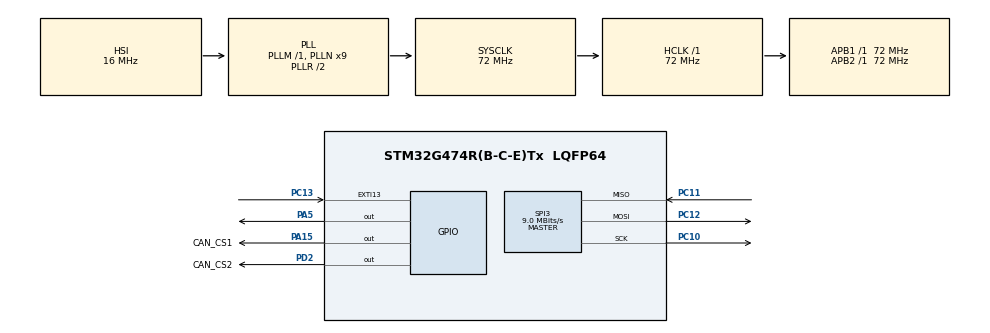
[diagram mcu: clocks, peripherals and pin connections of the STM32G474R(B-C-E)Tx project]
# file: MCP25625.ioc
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Mcu.Family=STM32G4
Mcu.Name=STM32G474R(B-C-E)Tx
Mcu.Package=LQFP64
NUCLEO-G474RE.BUTTON=1
NUCLEO-G474RE.LD2=true
NUCLEO-G474RE.VCP=true
NVIC.EXTI15_10_IRQn=true\:0\:0\:false\:false\:true\:true\:true\:true
NVIC.PriorityGroup=NVIC_PRIORITYGROUP_4
NVIC.TIM7_DAC_IRQn=true\:0\:0\:false\:false\:true\:true\:true\:true
PA13.GPIO_Label=T_SWDIO
PA13.Signal=SYS_JTMS-SWDIO
PA14.GPIO_Label=T_SWCLK
PA14.Signal=SYS_JTCK-SWCLK
PA15.GPIO_Label=CAN_CS1
PA15.PinState=GPIO_PIN_SET
PA15.Signal=GPIO_Output
PA2.Signal=LPUART1_TX
PA3.Signal=LPUART1_RX
PA5.Signal=GPIO_Output
PB3.GPIO_Label=T_SWO
PB3.Signal=SYS_JTDO-SWO
PC10.Mode=Full_Duplex_Master
PC10.Signal=SPI3_SCK
PC11.Mode=Full_Duplex_Master
PC11.Signal=SPI3_MISO
PC12.Mode=Full_Duplex_Master
PC12.Signal=SPI3_MOSI
PC13.Signal=GPXTI13
PC14-OSC32_IN.GPIO_Label=RCC_OSC32_IN
PC14-OSC32_IN.Signal=RCC_OSC32_IN
PC15-OSC32_OUT.GPIO_Label=RCC_OSC32_OUT
PC15-OSC32_OUT.Signal=RCC_OSC32_OUT
PD2.GPIO_Label=CAN_CS2
PD2.PinState=GPIO_PIN_SET
PD2.Signal=GPIO_Output
PF0-OSC_IN.GPIO_Label=RCC_OSC_IN
PF0-OSC_IN.Signal=RCC_OSC_IN
PF1-OSC_OUT.GPIO_Label=RCC_OSC_OUT
PF1-OSC_OUT.Signal=RCC_OSC_OUT
ProjectManager.HeapSize=0x200
ProjectManager.StackSize=0x400
ProjectManager.TargetToolchain=STM32CubeIDE
RCC.ADC12Freq_Value=72000000
RCC.ADC345Freq_Value=72000000
RCC.AHBFreq_Value=72000000
RCC.APB1Freq_Value=72000000
RCC.APB1TimFreq_Value=72000000
RCC.APB2Freq_Value=72000000
RCC.APB2TimFreq_Value=72000000
RCC.CortexFreq_Value=72000000
RCC.EXTERNAL_CLOCK_VALUE=12288000
RCC.HCLKFreq_Value=72000000
RCC.HSE_VALUE=24000000
RCC.HSI48_VALUE=48000000
RCC.HSI_VALUE=16000000
RCC.LSE_VALUE=32768
RCC.PLLN=9
RCC.RTCClockSelection=RCC_RTCCLKSOURCE_LSE
RCC.SYSCLKFreq_VALUE=72000000
RCC.SYSCLKSource=RCC_SYSCLKSOURCE_PLLCLK
RCC.USBFreq_Value=72000000
RCC.VCOOutputFreq_Value=144000000
SPI3.BaudRatePrescaler=SPI_BAUDRATEPRESCALER_8
SPI3.CalculateBaudRate=9.0 MBits/s
SPI3.DataSize=SPI_DATASIZE_8BIT
SPI3.Direction=SPI_DIRECTION_2LINES
SPI3.Mode=SPI_MODE_MASTER
SPI3.VirtualType=VM_MASTER
TIM7.PeriodNoDither=1000-1
TIM7.Prescaler=7200-1
VP_NUCLEO-G474RE_VS_BSP_COMMON.Mode=COMMON
VP_SYS_VS_DBSignals.Mode=DisableDeadBatterySignals
VP_TIM7_VS_ClockSourceINT.Mode=Enable_Timer
board=NUCLEO-G474RE

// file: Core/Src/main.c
/* USER CODE BEGIN Header */
/**
  ******************************************************************************
  * @file           : main.c
  * @brief          : Main program body
  ******************************************************************************
  * @attention
  *
  * Copyright (c) 2025 STMicroelectronics.
  * All rights reserved.
  *
  * This software is licensed under terms that can be found in the LICENSE file
  * in the root directory of this software component.
  * If no LICENSE file comes with this software, it is provided AS-IS.
  *
  ******************************************************************************
  */
/* USER CODE END Header */
#include "main.h"

/* USER CODE BEGIN Includes */
#include "CANSPI.h"
#include "MCP25625.h"
/* USER CODE END Includes */

COM_InitTypeDef BspCOMInit;
SPI_HandleTypeDef hspi3;

TIM_HandleTypeDef htim7;

void SystemClock_Config(void);
static void MX_GPIO_Init(void);
static void MX_SPI3_Init(void);
static void MX_TIM7_Init(void);

/* USER CODE BEGIN 0 */
int count = 0;
bool is_normal;
uCAN_MSG txMessage;
uCAN_MSG rxMessage;
/* USER CODE END 0 */

int main(void)
{

  /* MCU Configuration--------------------------------------------------------*/

  /* Reset of all peripherals, Initializes the Flash interface and the Systick. */
  HAL_Init();

  /* Configure the system clock */
  SystemClock_Config();

  /* Initialize all configured peripherals */
  MX_GPIO_Init();
  MX_SPI3_Init();
  MX_TIM7_Init();
  /* USER CODE BEGIN 2 */
  HAL_TIM_Base_Start_IT(&htim7);
  CANSPI_Initialize();
  /* USER CODE END 2 */

  /* Initialize led */
  BSP_LED_Init(LED_GREEN);

  /* Initialize USER push-button, will be used to trigger an interrupt each time it's pressed.*/
  BSP_PB_Init(BUTTON_USER, BUTTON_MODE_EXTI);

  /* Initialize COM1 port (115200, 8 bits (7-bit data + 1 stop bit), no parity */
  BspCOMInit.BaudRate   = 115200;
  BspCOMInit.WordLength = COM_WORDLENGTH_8B;
  BspCOMInit.StopBits   = COM_STOPBITS_1;
  BspCOMInit.Parity     = COM_PARITY_NONE;
  BspCOMInit.HwFlowCtl  = COM_HWCONTROL_NONE;
  if (BSP_COM_Init(COM1, &BspCOMInit) != BSP_ERROR_NONE)
  {
    Error_Handler();
  }

  /* Infinite loop */
  while (1)
  {

  }
}

void SystemClock_Config(void)
{
  RCC_OscInitTypeDef RCC_OscInitStruct = {0};
  RCC_ClkInitTypeDef RCC_ClkInitStruct = {0};

  /** Configure the main internal regulator output voltage
  */
  HAL_PWREx_ControlVoltageScaling(PWR_REGULATOR_VOLTAGE_SCALE1);

  /** Initializes the RCC Oscillators according to the specified parameters
  * in the RCC_OscInitTypeDef structure.
  */
  RCC_OscInitStruct.OscillatorType = RCC_OSCILLATORTYPE_HSI;
  RCC_OscInitStruct.HSIState = RCC_HSI_ON;
  RCC_OscInitStruct.HSICalibrationValue = RCC_HSICALIBRATION_DEFAULT;
  RCC_OscInitStruct.PLL.PLLState = RCC_PLL_ON;
  RCC_OscInitStruct.PLL.PLLSource = RCC_PLLSOURCE_HSI;
  RCC_OscInitStruct.PLL.PLLM = RCC_PLLM_DIV1;
  RCC_OscInitStruct.PLL.PLLN = 9;
  RCC_OscInitStruct.PLL.PLLP = RCC_PLLP_DIV2;
  RCC_OscInitStruct.PLL.PLLQ = RCC_PLLQ_DIV2;
  RCC_OscInitStruct.PLL.PLLR = RCC_PLLR_DIV2;
  if (HAL_RCC_OscConfig(&RCC_OscInitStruct) != HAL_OK)
  {
    Error_Handler();
  }

  /** Initializes the CPU, AHB and APB buses clocks
  */
  RCC_ClkInitStruct.ClockType = RCC_CLOCKTYPE_HCLK|RCC_CLOCKTYPE_SYSCLK
                              |RCC_CLOCKTYPE_PCLK1|RCC_CLOCKTYPE_PCLK2;
  RCC_ClkInitStruct.SYSCLKSource = RCC_SYSCLKSOURCE_PLLCLK;
  RCC_ClkInitStruct.AHBCLKDivider = RCC_SYSCLK_DIV1;
  RCC_ClkInitStruct.APB1CLKDivider = RCC_HCLK_DIV1;
  RCC_ClkInitStruct.APB2CLKDivider = RCC_HCLK_DIV1;

  if (HAL_RCC_ClockConfig(&RCC_ClkInitStruct, FLASH_LATENCY_2) != HAL_OK)
  {
    Error_Handler();
  }
}

static void MX_SPI3_Init(void)
{

  /* SPI3 parameter configuration*/
  hspi3.Instance = SPI3;
  hspi3.Init.Mode = SPI_MODE_MASTER;
  hspi3.Init.Direction = SPI_DIRECTION_2LINES;
  hspi3.Init.DataSize = SPI_DATASIZE_8BIT;
  hspi3.Init.CLKPolarity = SPI_POLARITY_LOW;
  hspi3.Init.CLKPhase = SPI_PHASE_1EDGE;
  hspi3.Init.NSS = SPI_NSS_SOFT;
  hspi3.Init.BaudRatePrescaler = SPI_BAUDRATEPRESCALER_8;
  hspi3.Init.FirstBit = SPI_FIRSTBIT_MSB;
  hspi3.Init.TIMode = SPI_TIMODE_DISABLE;
  hspi3.Init.CRCCalculation = SPI_CRCCALCULATION_DISABLE;
  hspi3.Init.CRCPolynomial = 7;
  hspi3.Init.CRCLength = SPI_CRC_LENGTH_DATASIZE;
  hspi3.Init.NSSPMode = SPI_NSS_PULSE_ENABLE;
  if (HAL_SPI_Init(&hspi3) != HAL_OK)
  {
    Error_Handler();
  }

}

static void MX_TIM7_Init(void)
{

  TIM_MasterConfigTypeDef sMasterConfig = {0};

  htim7.Instance = TIM7;
  htim7.Init.Prescaler = 7200-1;
  htim7.Init.CounterMode = TIM_COUNTERMODE_UP;
  htim7.Init.Period = 999;
  htim7.Init.AutoReloadPreload = TIM_AUTORELOAD_PRELOAD_DISABLE;
  if (HAL_TIM_Base_Init(&htim7) != HAL_OK)
  {
    Error_Handler();
  }
  sMasterConfig.MasterOutputTrigger = TIM_TRGO_RESET;
  sMasterConfig.MasterSlaveMode = TIM_MASTERSLAVEMODE_DISABLE;
  if (HAL_TIMEx_MasterConfigSynchronization(&htim7, &sMasterConfig) != HAL_OK)
  {
    Error_Handler();
  }

}

static void MX_GPIO_Init(void)
{
  GPIO_InitTypeDef GPIO_InitStruct = {0};

  /* GPIO Ports Clock Enable */
  __HAL_RCC_GPIOC_CLK_ENABLE();
  __HAL_RCC_GPIOF_CLK_ENABLE();
  __HAL_RCC_GPIOA_CLK_ENABLE();
  __HAL_RCC_GPIOD_CLK_ENABLE();
  __HAL_RCC_GPIOB_CLK_ENABLE();

  /*Configure GPIO pin Output Level */
  HAL_GPIO_WritePin(CAN_CS1_GPIO_Port, CAN_CS1_Pin, GPIO_PIN_SET);

  /*Configure GPIO pin Output Level */
  HAL_GPIO_WritePin(CAN_CS2_GPIO_Port, CAN_CS2_Pin, GPIO_PIN_SET);

  /*Configure GPIO pin : CAN_CS1_Pin */
  GPIO_InitStruct.Pin = CAN_CS1_Pin;
  GPIO_InitStruct.Mode = GPIO_MODE_OUTPUT_PP;
  GPIO_InitStruct.Pull = GPIO_NOPULL;
  GPIO_InitStruct.Speed = GPIO_SPEED_FREQ_LOW;
  HAL_GPIO_Init(CAN_CS1_GPIO_Port, &GPIO_InitStruct);

  /*Configure GPIO pin : CAN_CS2_Pin */
  GPIO_InitStruct.Pin = CAN_CS2_Pin;
  GPIO_InitStruct.Mode = GPIO_MODE_OUTPUT_PP;
  GPIO_InitStruct.Pull = GPIO_NOPULL;
  GPIO_InitStruct.Speed = GPIO_SPEED_FREQ_LOW;
  HAL_GPIO_Init(CAN_CS2_GPIO_Port, &GPIO_InitStruct);

}

/* USER CODE BEGIN 4 */
void Clear_TX_Buffer(void) {
    MCP25625_WriteByte(MCP25625_TXB0CTRL, 0x00); // TXB0の制御レジスタをリセット
    MCP25625_WriteByte(MCP25625_TXB1CTRL, 0x00); // TXB1の制御レジスタをリセット
    MCP25625_WriteByte(MCP25625_TXB2CTRL, 0x00); // TXB2の制御レジスタをリセット
}
void HAL_TIM_PeriodElapsedCallback(TIM_HandleTypeDef* htim)
{
	if (htim->Instance == TIM7)
	{
		if(CANSPI_Receive(&rxMessage))
	  {
      //receive
	  }
    if(count%2 == 0){
      txMessage.frame.idType = dSTANDARD_CAN_MSG_ID_2_0B;
      txMessage.frame.id = 0x22;
      txMessage.frame.dlc = 8;
      txMessage.frame.data0 = 0;
      txMessage.frame.data1 = 1;
      txMessage.frame.data2 = 2;
      txMessage.frame.data3 = 3;
      txMessage.frame.data4 = 4;
      txMessage.frame.data5 = 5;
      txMessage.frame.data6 = 6;
      txMessage.frame.data7 = 7;
    }
    else
    {
      txMessage.frame.idType = dSTANDARD_CAN_MSG_ID_2_0B;
      txMessage.frame.id = 0x22;
      txMessage.frame.dlc = 8;
      txMessage.frame.data0 = 7;
      txMessage.frame.data1 = 6;
      txMessage.frame.data2 = 5;
      txMessage.frame.data3 = 4;
      txMessage.frame.data4 = 3;
      txMessage.frame.data5 = 2;
      txMessage.frame.data6 = 1;
      txMessage.frame.data7 = 0;
    }
    Clear_TX_Buffer();
    CANSPI_Transmit(&txMessage);
    is_normal = MCP25625_SetNormalMode();
    count++;
	}
}
/* USER CODE END 4 */

void Error_Handler(void)
{
  __disable_irq();
  while (1)
  {
  }
}
